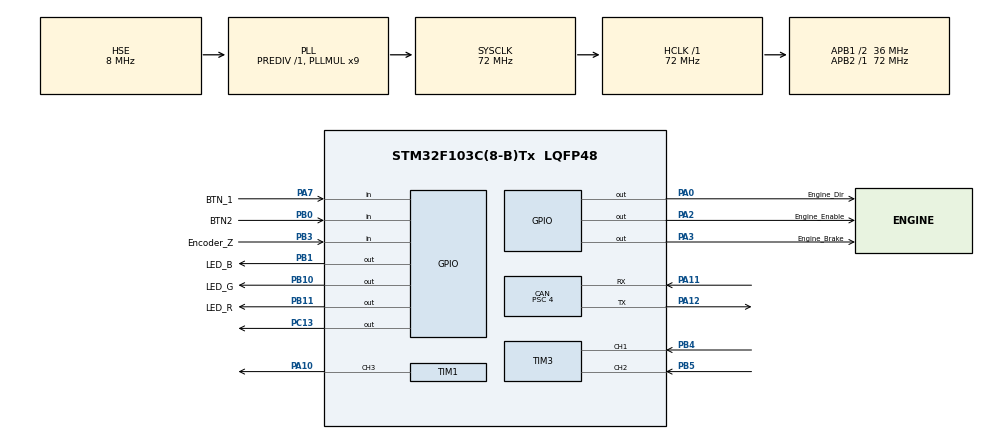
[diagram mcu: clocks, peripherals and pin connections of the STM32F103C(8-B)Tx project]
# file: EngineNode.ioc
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CAN.BS1=CAN_BS1_13TQ
CAN.BS2=CAN_BS2_4TQ
CAN.CalculateBaudRate=500000
CAN.CalculateTimeBit=2000
CAN.CalculateTimeQuantum=111.11111111111111
CAN.NART=DISABLE
CAN.Prescaler=4
CAN.SJW=CAN_SJW_1TQ
CAN.TXFP=ENABLE
Dma.MEMTOMEM.0.Direction=DMA_MEMORY_TO_MEMORY
Dma.MEMTOMEM.0.Instance=DMA1_Channel1
Dma.MEMTOMEM.0.MemDataAlignment=DMA_MDATAALIGN_BYTE
Dma.MEMTOMEM.0.MemInc=DMA_MINC_ENABLE
Dma.MEMTOMEM.0.Mode=DMA_NORMAL
Dma.MEMTOMEM.0.PeriphDataAlignment=DMA_PDATAALIGN_BYTE
Dma.MEMTOMEM.0.PeriphInc=DMA_PINC_ENABLE
Dma.MEMTOMEM.0.Priority=DMA_PRIORITY_LOW
Dma.Request0=MEMTOMEM
FREERTOS.BinarySemaphores01=data_semaphore,Dynamic,NULL
FREERTOS.INCLUDE_xEventGroupSetBitFromISR=1
FREERTOS.Mutexes01=CAN_Mutex,Dynamic,NULL
FREERTOS.Tasks01=tDefault,32,1024,StartDefaultTask,Default,NULL,Dynamic,NULL,NULL;myCAN_handl,8,256,CAN_SendData,Default,NULL,Dynamic,NULL,NULL
FREERTOS.configENABLE_BACKWARD_COMPATIBILITY=0
FREERTOS.configMAX_TASK_NAME_LEN=12
FREERTOS.configMINIMAL_STACK_SIZE=64
FREERTOS.configTIMER_TASK_STACK_DEPTH=64
FREERTOS.configTOTAL_HEAP_SIZE=8192
FREERTOS.configUSE_NEWLIB_REENTRANT=1
FREERTOS.configUSE_TRACE_FACILITY=1
Mcu.Family=STM32F1
Mcu.Name=STM32F103C(8-B)Tx
Mcu.Package=LQFP48
NVIC.CAN1_RX1_IRQn=true\:5\:0\:false\:false\:true\:true\:true\:true\:true
NVIC.PriorityGroup=NVIC_PRIORITYGROUP_4
NVIC.TIM4_IRQn=true\:15\:0\:false\:false\:true\:false\:false\:true\:true
NVIC.TimeBase=TIM4_IRQn
NVIC.TimeBaseIP=TIM4
NVIC.USB_HP_CAN1_TX_IRQn=true\:5\:0\:true\:false\:true\:true\:true\:true\:true
NVIC.USB_LP_CAN1_RX0_IRQn=true\:5\:0\:false\:false\:true\:true\:true\:true\:true
PA0-WKUP.GPIO_Label=Engine_Dir
PA0-WKUP.Signal=GPIO_Output
PA10.Signal=S_TIM1_CH3
PA11.Mode=CAN_Activate
PA11.Signal=CAN_RX
PA12.Mode=CAN_Activate
PA12.Signal=CAN_TX
PA13.Mode=Serial_Wire
PA13.Signal=SYS_JTMS-SWDIO
PA14.Mode=Serial_Wire
PA14.Signal=SYS_JTCK-SWCLK
PA2.GPIO_Label=Engine_Enable
PA2.Signal=GPIO_Output
PA3.GPIO_Label=Engine_Brake
PA3.Signal=GPIO_Output
PA7.GPIO_Label=BTN_1
PA7.Signal=GPIO_Input
PB0.GPIO_Label=BTN2
PB0.Signal=GPIO_Input
PB1.GPIO_Label=LED_B
PB1.PinState=GPIO_PIN_SET
PB1.Signal=GPIO_Output
PB10.GPIO_Label=LED_G
PB10.PinState=GPIO_PIN_SET
PB10.Signal=GPIO_Output
PB11.GPIO_Label=LED_R
PB11.PinState=GPIO_PIN_SET
PB11.Signal=GPIO_Output
PB3.GPIO_Label=Encoder_Z
PB3.Signal=GPIO_Input
PB4.Signal=S_TIM3_CH1
PB5.Signal=S_TIM3_CH2
PC13-TAMPER-RTC.Signal=GPIO_Output
PD0-OSC_IN.Mode=HSE-External-Oscillator
PD0-OSC_IN.Signal=RCC_OSC_IN
PD1-OSC_OUT.Mode=HSE-External-Oscillator
PD1-OSC_OUT.Signal=RCC_OSC_OUT
ProjectManager.HeapSize=0x200
ProjectManager.StackSize=0x400
ProjectManager.TargetToolchain=STM32CubeIDE
RCC.AHBFreq_Value=72000000
RCC.APB1CLKDivider=RCC_HCLK_DIV2
RCC.APB1Freq_Value=36000000
RCC.APB1TimFreq_Value=72000000
RCC.APB2Freq_Value=72000000
RCC.APB2TimFreq_Value=72000000
RCC.HCLKFreq_Value=72000000
RCC.PLLMUL=RCC_PLL_MUL9
RCC.PLLSourceVirtual=RCC_PLLSOURCE_HSE
RCC.SYSCLKFreq_VALUE=72000000
RCC.SYSCLKSource=RCC_SYSCLKSOURCE_PLLCLK
RCC.USBFreq_Value=72000000
SH.S_TIM1_CH3.0=TIM1_CH3,PWM Generation3 CH3
SH.S_TIM3_CH1.0=TIM3_CH1,Encoder_Interface
SH.S_TIM3_CH2.0=TIM3_CH2,Encoder_Interface
TIM1.Channel-PWM\ Generation3\ CH3=TIM_CHANNEL_3
TIM3.EncoderMode=TIM_ENCODERMODE_TI12
VP_FREERTOS_VS_CMSIS_V2.Mode=CMSIS_V2
VP_SYS_VS_tim4.Mode=TIM4
board=custom

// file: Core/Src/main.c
/* USER CODE BEGIN Header */
/**
 ******************************************************************************
 * @file           : main.c
 * @brief          : Main program body
 ******************************************************************************
 * @attention
 *
 * Copyright (c) 2023 STMicroelectronics.
 * All rights reserved.
 *
 * This software is licensed under terms that can be found in the LICENSE file
 * in the root directory of this software component.
 * If no LICENSE file comes with this software, it is provided AS-IS.
 *
 ******************************************************************************
 */
/* USER CODE END Header */
#include "main.h"
#include "cmsis_os.h"
#include "can.h"
#include "dma.h"
#include "tim.h"
#include "gpio.h"

/* USER CODE BEGIN Includes */
#include "GPIO/GPIOHandler.h"
#include "EngineControl/EngineControl.h"
#include "Encoder/Encoder.h"
#include "MotorController/SpeedController.h"
#include "CAN_Handle.h"
#include <stdbool.h>
/* USER CODE END Includes */

/* USER CODE BEGIN PV */
GPIO_HandlerStruct Blinker = { .Port = GPIOC, .Pin = GPIO_PIN_13 };
GPIO_HandlerStruct BrakePin = { .Port = Engine_Brake_GPIO_Port, .Pin =
Engine_Brake_Pin };
GPIO_HandlerStruct GasEnPin = { .Port = Engine_Enable_GPIO_Port, .Pin =
Engine_Enable_Pin };
GPIO_HandlerStruct DirPin = { .Port = Engine_Dir_GPIO_Port, .Pin =
Engine_Dir_Pin };

Encoder_HandlerStruct Encoder;
Engine_HandlerStruct Engine;
SpeedControler_HandlerStruct SpeedController;

float Speed;
bool SpeedOk;
uint8_t Break = 0;
bool braking = false;
float curSpeed = 0;
extern uint8_t rcdata[8];
extern uint8_t Can_RecFlag;
float speeding = 0;
//float Speed = 0;
/* USER CODE END PV */

void SystemClock_Config(void);
void MX_FREERTOS_Init(void);

int main(void) {

	/* MCU Configuration--------------------------------------------------------*/

	/* Reset of all peripherals, Initializes the Flash interface and the Systick. */
 	HAL_Init();

	/* Configure the system clock */
	SystemClock_Config();

	/* Initialize all configured peripherals */
	MX_GPIO_Init();
	MX_DMA_Init();
	MX_CAN_Init();
	MX_TIM3_Init();
	MX_TIM1_Init();
	/* USER CODE BEGIN 2 */
//  HAL_GPIO_WritePin(Engine_Brake_GPIO_Port, Engine_Brake_Pin, 0);
//  HAL_GPIO_WritePin(Engine_Brake_GPIO_Port, Engine_Brake_Pin, 1);
	CAN_Config_filtering(0, 0x112);
	if (HAL_CAN_ActivateNotification(&hcan,
			CAN_IT_TX_MAILBOX_EMPTY | CAN_IT_RX_FIFO0_MSG_PENDING
					| CAN_IT_RX_FIFO1_MSG_PENDING) != HAL_OK) {
		HAL_CAN_ResetError(&hcan);
	}
	if (HAL_CAN_Start(&hcan) != HAL_OK) {
		HAL_CAN_ResetError(&hcan);
	}
	Encoder_Init(&Encoder, &htim3, 0.3, 10);
	Engine_Init(&Engine, -7200, 7200);
	Engine_ConfigTimer(&Engine, &htim1, TIM_CHANNEL_3);
	Engine_ConfigControlPin(&Engine, BrakePin, DirPin, GasEnPin);
	SpeedController_Init(&SpeedController, &Encoder, &Engine, 50);
	Encoder.EnCntTraveled = 1;
	Encoder.PulsePerMeter = 2927 * 2;
	SpeedController.PulsePerMeter = 2927 * 2;
	Encoder_Start(&Encoder, 1);
	SpeedController_SetTunings(&SpeedController, 180.0, 1.0, 35.0);
	SpeedController_Start(&SpeedController, 1);
	/* USER CODE END 2 */

	/* Init scheduler */
	osKernelInitialize();

	/* Call init function for freertos objects (in freertos.c) */
	MX_FREERTOS_Init();

	/* Start scheduler */
	osKernelStart();

	/* We should never get here as control is now taken by the scheduler */
	/* Infinite loop */
	while (1) {

	}
}

void SystemClock_Config(void) {
	RCC_OscInitTypeDef RCC_OscInitStruct = { 0 };
	RCC_ClkInitTypeDef RCC_ClkInitStruct = { 0 };

	/** Initializes the RCC Oscillators according to the specified parameters
	 * in the RCC_OscInitTypeDef structure.
	 */
	RCC_OscInitStruct.OscillatorType = RCC_OSCILLATORTYPE_HSE;
	RCC_OscInitStruct.HSEState = RCC_HSE_ON;
	RCC_OscInitStruct.HSEPredivValue = RCC_HSE_PREDIV_DIV1;
	RCC_OscInitStruct.HSIState = RCC_HSI_ON;
	RCC_OscInitStruct.PLL.PLLState = RCC_PLL_ON;
	RCC_OscInitStruct.PLL.PLLSource = RCC_PLLSOURCE_HSE;
	RCC_OscInitStruct.PLL.PLLMUL = RCC_PLL_MUL9;
	if (HAL_RCC_OscConfig(&RCC_OscInitStruct) != HAL_OK) {
		Error_Handler();
	}

	/** Initializes the CPU, AHB and APB buses clocks
	 */
	RCC_ClkInitStruct.ClockType = RCC_CLOCKTYPE_HCLK | RCC_CLOCKTYPE_SYSCLK
			| RCC_CLOCKTYPE_PCLK1 | RCC_CLOCKTYPE_PCLK2;
	RCC_ClkInitStruct.SYSCLKSource = RCC_SYSCLKSOURCE_PLLCLK;
	RCC_ClkInitStruct.AHBCLKDivider = RCC_SYSCLK_DIV1;
	RCC_ClkInitStruct.APB1CLKDivider = RCC_HCLK_DIV2;
	RCC_ClkInitStruct.APB2CLKDivider = RCC_HCLK_DIV1;

	if (HAL_RCC_ClockConfig(&RCC_ClkInitStruct, FLASH_LATENCY_2) != HAL_OK) {
		Error_Handler();
	}
}

void HAL_TIM_PeriodElapsedCallback(TIM_HandleTypeDef *htim) {
	if (htim->Instance == TIM4) {
		HAL_IncTick();
	}
}

void Error_Handler(void) {
	__disable_irq();
	while (1) {
	}
}

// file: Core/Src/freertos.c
/* USER CODE BEGIN Header */
/**
 ******************************************************************************
 * File Name          : freertos.c
 * Description        : Code for freertos applications
 ******************************************************************************
 * @attention
 *
 * Copyright (c) 2023 STMicroelectronics.
 * All rights reserved.
 *
 * This software is licensed under terms that can be found in the LICENSE file
 * in the root directory of this software component.
 * If no LICENSE file comes with this software, it is provided AS-IS.
 *
 ******************************************************************************
 */
/* USER CODE END Header */

#include "FreeRTOS.h"
#include "task.h"
#include "main.h"
#include "cmsis_os.h"

/* USER CODE BEGIN Includes */
#include "GPIO/GPIOHandler.h"
#include "EngineControl/EngineControl.h"
#include "Encoder/Encoder.h"
#include "MotorController/SpeedController.h"
#include "CAN_Handle.h"
#include <stdbool.h>
#include "tim.h"
/* USER CODE END Includes */

/* USER CODE BEGIN Variables */
extern CAN_HandleTypeDef hcan;
extern GPIO_HandlerStruct Blinker;
extern GPIO_HandlerStruct BrakePin;
extern GPIO_HandlerStruct GasEnPin;
extern GPIO_HandlerStruct DirPin;

extern Encoder_HandlerStruct Encoder;
extern Engine_HandlerStruct Engine;
extern SpeedControler_HandlerStruct SpeedController;
extern float Speed;
extern bool SpeedOk;
extern uint8_t Break;
extern bool braking;
extern float curSpeed;
extern uint8_t rcdata[8];
extern uint8_t Can_RecFlag;
extern float speeding;
/* USER CODE END Variables */
/* Definitions for tDefault */
osThreadId_t tDefaultHandle;
const osThreadAttr_t tDefault_attributes = {
  .name = "tDefault",
  .stack_size = 1024 * 4,
  .priority = (osPriority_t) osPriorityAboveNormal,
};
/* Definitions for myCAN_handl */
osThreadId_t myCAN_handlHandle;
const osThreadAttr_t myCAN_handl_attributes = {
  .name = "myCAN_handl",
  .stack_size = 256 * 4,
  .priority = (osPriority_t) osPriorityLow,
};
/* Definitions for CAN_Mutex */
osMutexId_t CAN_MutexHandle;
const osMutexAttr_t CAN_Mutex_attributes = {
  .name = "CAN_Mutex"
};
/* Definitions for data_semaphore */
osSemaphoreId_t data_semaphoreHandle;
const osSemaphoreAttr_t data_semaphore_attributes = {
  .name = "data_semaphore"
};

void StartDefaultTask(void *argument);
void CAN_SendData(void *argument);

void MX_FREERTOS_Init(void); /* (MISRA C 2004 rule 8.1) */

void MX_FREERTOS_Init(void) {
  /* Create the mutex(es) */
  /* creation of CAN_Mutex */
  CAN_MutexHandle = osMutexNew(&CAN_Mutex_attributes);

  /* Create the semaphores(s) */
  /* creation of data_semaphore */
  data_semaphoreHandle = osSemaphoreNew(1, 0, &data_semaphore_attributes);

  /* Create the thread(s) */
  /* creation of tDefault */
  tDefaultHandle = osThreadNew(StartDefaultTask, NULL, &tDefault_attributes);

  /* creation of myCAN_handl */
  myCAN_handlHandle = osThreadNew(CAN_SendData, NULL, &myCAN_handl_attributes);

}

void StartDefaultTask(void *argument)
{
  /* USER CODE BEGIN StartDefaultTask */
	uint8_t Data[8];
	/* Infinite loop */
	for (;;) {
		if (Can_RecFlag == 1) {
			memcpy(Data, rcdata, 8);
			switch (Data[0]) {
			case 0x23:
				switch (Data[1]) {
				case 1:
					stopEngineAndBrake(&SpeedController, &Engine);
					braking = false;
					HAL_GPIO_WritePin(LED_B_GPIO_Port, LED_B_Pin, GPIO_PIN_SET);
					break;
				default:
					braking = true;
					HAL_GPIO_WritePin(LED_B_GPIO_Port, LED_B_Pin,
							GPIO_PIN_RESET);
				}
				break;
			case 0x34:
				if (braking) {
					Speed = bytes2Float(Data + 1);
					speeding = SpeedController_GetSpeed(&SpeedController);
					if (Speed == 0) {
						stopEngineAndBrake(&SpeedController, &Engine);
					} else if (!SpeedOk && Speed == SpeedController.SetPoint) {
						SpeedOk = true;
					} else {
						SpeedOk = false;
					}
					if (!SpeedOk) {
						if (Speed > 0) {
							setSpeedAndClearBrake(&SpeedController, &Engine,
									Speed);
							if (!SpeedController.isEnable) {
								SpeedController_Start(&SpeedController, 1);
							}
						} else {
							SpeedController_Start(&SpeedController, 0);
							Engine_SetSpeed(&Engine,
									Speed * 4 * Engine_TIM_MaxPulse / 100);
						}
					}
				}
				break;
			}
		}
		osDelay(1);
	}
  /* USER CODE END StartDefaultTask */
}

void CAN_SendData(void *argument)
{
  /* USER CODE BEGIN CAN_SendData */
	uint8_t sendData[8];
	memset(sendData, 0x55, 8);
	/* Infinite loop */
	for (;;) {
		speeding = SpeedController_GetSpeed(&SpeedController);
		float2Bytes(sendData, speeding);
		CAN_HandleSendData(0x203, sendData, 8);
		osDelay(10);
	}
  /* USER CODE END CAN_SendData */
}

/* USER CODE BEGIN Application */
/* USER CODE END DataProcessing */

/* USER CODE END Application */
